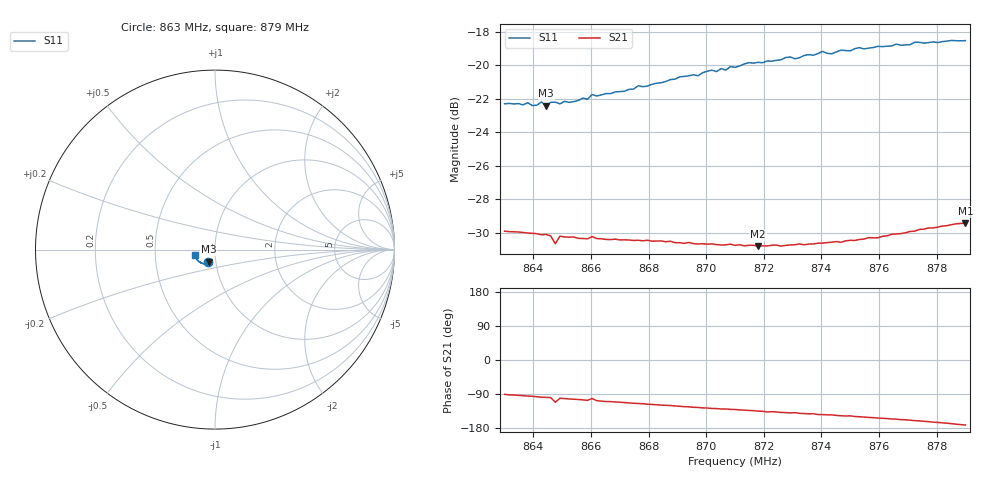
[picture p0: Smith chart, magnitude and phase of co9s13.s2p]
# HZ S RI R 50
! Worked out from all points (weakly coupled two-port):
!   101 points, 863 MHz to 879 MHz, reference 50 ohm
!   highest |S21| = -29.43 dB at 879 MHz (marker M1); lowest = -30.8 dB at 871.8 MHz (marker M2)
!   lowest |S11| = -22.4 dB at 864.44 MHz (marker M3), VSWR 1.16, Z = 46.3 - j6.27 ohm
!   |S11| at or under -10 dB: start of sweep to end of sweep
!   S12 and S22 are empty: the file has one direction only
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8.63e8  -0.038 -0.0667  -0.000412 -0.0319  0 0  0 0
8.638e8  -0.0361 -0.0684  -0.00285 -0.0314  0 0  0 0
8.6396e8  -0.0353 -0.0672  -0.00314 -0.0313  0 0  0 0
8.6428e8  -0.0357 -0.0691  -0.00446 -0.0308  0 0  0 0
8.6444e8  -0.0346 -0.0674  -0.00467 -0.0309  0 0  0 0
8.646e8  -0.035 -0.0692  -0.00497 -0.0305  0 0  0 0
8.6476e8  -0.036 -0.0688  -0.0107 -0.0273  0 0  0 0
8.6492e8  -0.035 -0.0683  -0.00593 -0.0303  0 0  0 0
8.6572e8  -0.0349 -0.0718  -0.00797 -0.0293  0 0  0 0
8.6588e8  -0.0355 -0.0708  -0.00854 -0.0291  0 0  0 0
8.6604e8  -0.0388 -0.072  -0.00624 -0.0301  0 0  0 0
8.662e8  -0.0361 -0.0725  -0.00907 -0.029  0 0  0 0
8.6844e8  -0.0427 -0.0778  -0.0145 -0.0261  0 0  0 0
8.71e8  -0.0586 -0.0794  -0.0189 -0.022  0 0  0 0
8.718e8  -0.0648 -0.0789  -0.0203 -0.0204  0 0  0 0
8.7372e8  -0.0771 -0.0745  -0.023 -0.0181  0 0  0 0
8.7404e8  -0.084 -0.0711  -0.0238 -0.0173  0 0  0 0
8.7436e8  -0.0818 -0.071  -0.0242 -0.0171  0 0  0 0
8.7532e8  -0.0915 -0.0662  -0.026 -0.0152  0 0  0 0
8.7644e8  -0.0989 -0.0572  -0.0285 -0.0129  0 0  0 0
8.7724e8  -0.1057 -0.0507  -0.03 -0.0109  0 0  0 0
8.79e8  -0.114 -0.0327  -0.0334 -0.00496  0 0  0 0
